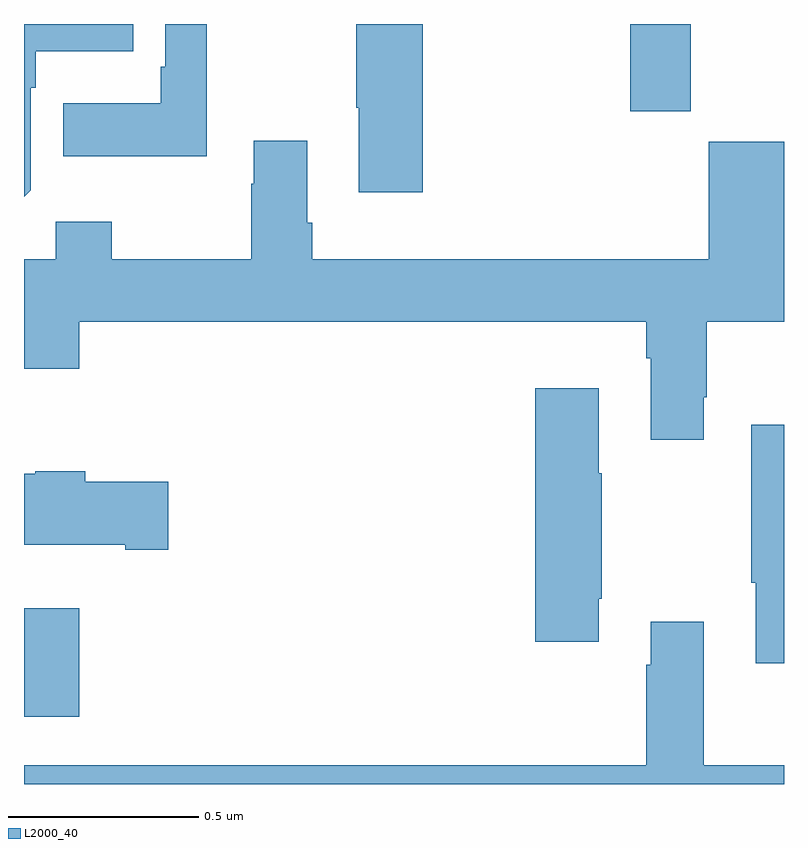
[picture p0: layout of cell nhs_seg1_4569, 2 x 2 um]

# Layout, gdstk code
import gdstk
lib = gdstk.Library(unit=1e-6, precision=1e-09)
def R(c, l, rs):  # rectangles x0, y0, x1, y1
    for r in rs: c.add(gdstk.rectangle(r[:2], r[2:], *l))
def P(c, l, *ps):  # polygons
    for p in ps: c.add(gdstk.Polygon(p, *l))
L2000_40 = (2000, 40)

nhs_seg1_4569 = lib.new_cell('nhs_seg1_4569')
R(nhs_seg1_4569, L2000_40, [(168,533.376,168.146,533.662), (169.595,534.969,169.755,535.199)])
P(nhs_seg1_4569, L2000_40, [(168.481,535.199),(168.372,535.199),(168.372,535.087),(168.36,535.087),(168.36,534.991),(168.103,534.991),(168.103,534.851),(168.481,534.851)],
  [(168.018,534.762),(168.018,535.031),(168.031,535.031),(168.031,535.127),(168.287,535.127),(168.287,535.199),(168,535.199),(168,534.744)],
  [(169.049,535.199),(168.874,535.199),(168.874,534.979),(168.881,534.979),(168.881,534.756),(169.049,534.756)],
  [(169.789,534.217),(169.797,534.217),(169.797,534.416),(170,534.416),(170,534.889),(169.802,534.889),(169.802,534.58),(168.758,534.58),(168.758,534.676),(168.745,534.676),(168.745,534.892),(168.605,534.892),(168.605,534.779),(168.598,534.779),(168.598,534.58),(168.231,534.58),(168.231,534.679),(168.084,534.679),(168.084,534.58),(168,534.58),(168,534.292),(168.146,534.292),(168.146,534.416),(169.637,534.416),(169.637,534.32),(169.649,534.32),(169.649,534.105),(169.789,534.105)],
  [(169.513,533.686),(169.521,533.686),(169.521,534.017),(169.513,534.017),(169.513,534.241),(169.346,534.241),(169.346,533.574),(169.513,533.574)],
  [(170,534.145),(169.914,534.145),(169.914,533.729),(169.925,533.729),(169.925,533.517),(170,533.517)],
  [(168.379,533.994),(168.161,533.994),(168.161,534.022),(168.03,534.022),(168.03,534.016),(168,534.016),(168,533.828),(168.266,533.828),(168.266,533.816),(168.379,533.816)],
  [(170,533.248),(169.789,533.248),(169.789,533.626),(169.649,533.626),(169.649,533.513),(169.637,533.513),(169.637,533.248),(168,533.248),(168,533.199),(170,533.199)])

lib.write_gds('nhs_seg1_4569.gds')
